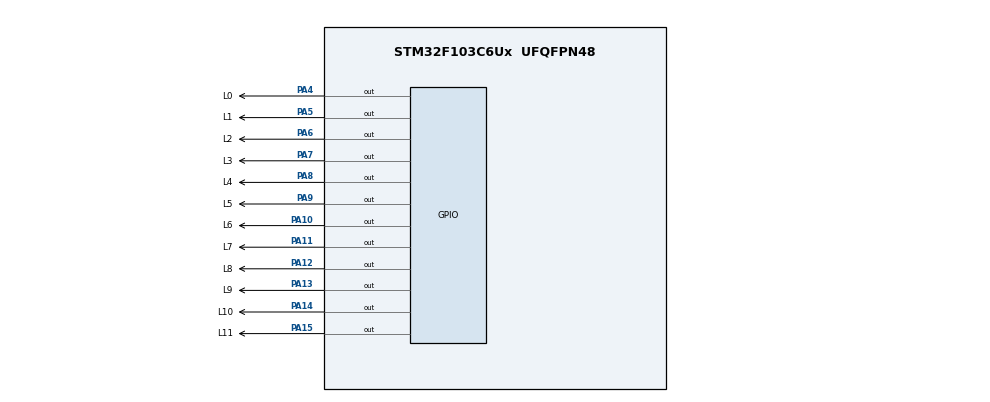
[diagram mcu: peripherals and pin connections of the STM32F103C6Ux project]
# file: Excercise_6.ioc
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Mcu.Family=STM32F1
Mcu.Name=STM32F103C6Ux
Mcu.Package=UFQFPN48
NVIC.PriorityGroup=NVIC_PRIORITYGROUP_4
PA10.GPIO_Label=L6
PA10.Signal=GPIO_Output
PA11.GPIO_Label=L7
PA11.Signal=GPIO_Output
PA12.GPIO_Label=L8
PA12.Signal=GPIO_Output
PA13.GPIO_Label=L9
PA13.Signal=GPIO_Output
PA14.GPIO_Label=L10
PA14.Signal=GPIO_Output
PA15.GPIO_Label=L11
PA15.Signal=GPIO_Output
PA4.GPIO_Label=L0
PA4.Signal=GPIO_Output
PA5.GPIO_Label=L1
PA5.Signal=GPIO_Output
PA6.GPIO_Label=L2
PA6.Signal=GPIO_Output
PA7.GPIO_Label=L3
PA7.Signal=GPIO_Output
PA8.GPIO_Label=L4
PA8.Signal=GPIO_Output
PA9.GPIO_Label=L5
PA9.Signal=GPIO_Output
ProjectManager.HeapSize=0x200
ProjectManager.StackSize=0x400
ProjectManager.TargetToolchain=STM32CubeIDE
RCC.APB1Freq_Value=8000000
RCC.APB2Freq_Value=8000000
board=custom

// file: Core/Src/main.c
/* USER CODE BEGIN Header */
/**
  ******************************************************************************
  * @file           : main.c
  * @brief          : Main program body
  ******************************************************************************
  * @attention
  *
  * Copyright (c) 2023 STMicroelectronics.
  * All rights reserved.
  *
  * This software is licensed under terms that can be found in the LICENSE file
  * in the root directory of this software component.
  * If no LICENSE file comes with this software, it is provided AS-IS.
  *
  ******************************************************************************
  */
/* USER CODE END Header */
#include "main.h"

void SystemClock_Config(void);
static void MX_GPIO_Init(void);

/* USER CODE BEGIN 0 */
void led_on(int pin) {
	 HAL_GPIO_WritePin(GPIOA, pin, SET);
}

void led_off(int pin) {
	 HAL_GPIO_WritePin(GPIOA, pin, RESET);
}

void test_led(int i) {
	if(i == 0) {
		led_off(GPIO_PIN_15);
		led_on(GPIO_PIN_4);
	}
	else if(i == 1) {
		led_off(GPIO_PIN_4);
		led_on(GPIO_PIN_5);
	}
	else if(i == 2) {
		led_off(GPIO_PIN_5);
		led_on(GPIO_PIN_6);
	}
	else if(i == 3) {
		led_off(GPIO_PIN_6);
		led_on(GPIO_PIN_7);
	}
	else if(i == 4) {
		led_off(GPIO_PIN_7);
		led_on(GPIO_PIN_8);
	}
	else if(i == 5) {
		led_off(GPIO_PIN_8);
		led_on(GPIO_PIN_9);
	}
	else if(i == 6) {
		led_off(GPIO_PIN_9);
		led_on(GPIO_PIN_10);
	}
	else if(i == 7) {
		led_off(GPIO_PIN_10);
		led_on(GPIO_PIN_11);
	}
	else if(i == 8) {
		led_off(GPIO_PIN_11);
		led_on(GPIO_PIN_12);
	}
	else if(i == 9) {
		led_off(GPIO_PIN_12);
		led_on(GPIO_PIN_13);
	}
	else if(i == 10) {
		led_off(GPIO_PIN_13);
		led_on(GPIO_PIN_14);
	}
	else {
		led_off(GPIO_PIN_14);
		led_on(GPIO_PIN_15);
	}
}
/* USER CODE END 0 */

int main(void)
{

  /* MCU Configuration--------------------------------------------------------*/

  /* Reset of all peripherals, Initializes the Flash interface and the Systick. */
  HAL_Init();

  /* Configure the system clock */
  SystemClock_Config();

  /* Initialize all configured peripherals */
  MX_GPIO_Init();
  /* Infinite loop */
  /* USER CODE BEGIN WHILE */
  int counter = 0;
  while (1)
  {
    /* USER CODE END WHILE */
	  if(counter == 12) counter = 0;
	  test_led(counter++);
	  HAL_Delay(1000);
  }
}

void SystemClock_Config(void)
{
  RCC_OscInitTypeDef RCC_OscInitStruct = {0};
  RCC_ClkInitTypeDef RCC_ClkInitStruct = {0};

  /** Initializes the RCC Oscillators according to the specified parameters
  * in the RCC_OscInitTypeDef structure.
  */
  RCC_OscInitStruct.OscillatorType = RCC_OSCILLATORTYPE_HSI;
  RCC_OscInitStruct.HSIState = RCC_HSI_ON;
  RCC_OscInitStruct.HSICalibrationValue = RCC_HSICALIBRATION_DEFAULT;
  RCC_OscInitStruct.PLL.PLLState = RCC_PLL_NONE;
  if (HAL_RCC_OscConfig(&RCC_OscInitStruct) != HAL_OK)
  {
    Error_Handler();
  }

  /** Initializes the CPU, AHB and APB buses clocks
  */
  RCC_ClkInitStruct.ClockType = RCC_CLOCKTYPE_HCLK|RCC_CLOCKTYPE_SYSCLK
                              |RCC_CLOCKTYPE_PCLK1|RCC_CLOCKTYPE_PCLK2;
  RCC_ClkInitStruct.SYSCLKSource = RCC_SYSCLKSOURCE_HSI;
  RCC_ClkInitStruct.AHBCLKDivider = RCC_SYSCLK_DIV1;
  RCC_ClkInitStruct.APB1CLKDivider = RCC_HCLK_DIV1;
  RCC_ClkInitStruct.APB2CLKDivider = RCC_HCLK_DIV1;

  if (HAL_RCC_ClockConfig(&RCC_ClkInitStruct, FLASH_LATENCY_0) != HAL_OK)
  {
    Error_Handler();
  }
}

static void MX_GPIO_Init(void)
{
  GPIO_InitTypeDef GPIO_InitStruct = {0};

  /* GPIO Ports Clock Enable */
  __HAL_RCC_GPIOA_CLK_ENABLE();

  /*Configure GPIO pin Output Level */
  HAL_GPIO_WritePin(GPIOA, L0_Pin|L1_Pin|L2_Pin|L3_Pin
                          |L4_Pin|L5_Pin|L6_Pin|L7_Pin
                          |L8_Pin|L9_Pin|L10_Pin|L11_Pin, GPIO_PIN_RESET);

  /*Configure GPIO pins : L0_Pin L1_Pin L2_Pin L3_Pin
                           L4_Pin L5_Pin L6_Pin L7_Pin
                           L8_Pin L9_Pin L10_Pin L11_Pin */
  GPIO_InitStruct.Pin = L0_Pin|L1_Pin|L2_Pin|L3_Pin
                          |L4_Pin|L5_Pin|L6_Pin|L7_Pin
                          |L8_Pin|L9_Pin|L10_Pin|L11_Pin;
  GPIO_InitStruct.Mode = GPIO_MODE_OUTPUT_PP;
  GPIO_InitStruct.Pull = GPIO_NOPULL;
  GPIO_InitStruct.Speed = GPIO_SPEED_FREQ_LOW;
  HAL_GPIO_Init(GPIOA, &GPIO_InitStruct);

}

void Error_Handler(void)
{
  __disable_irq();
  while (1)
  {
  }
}
